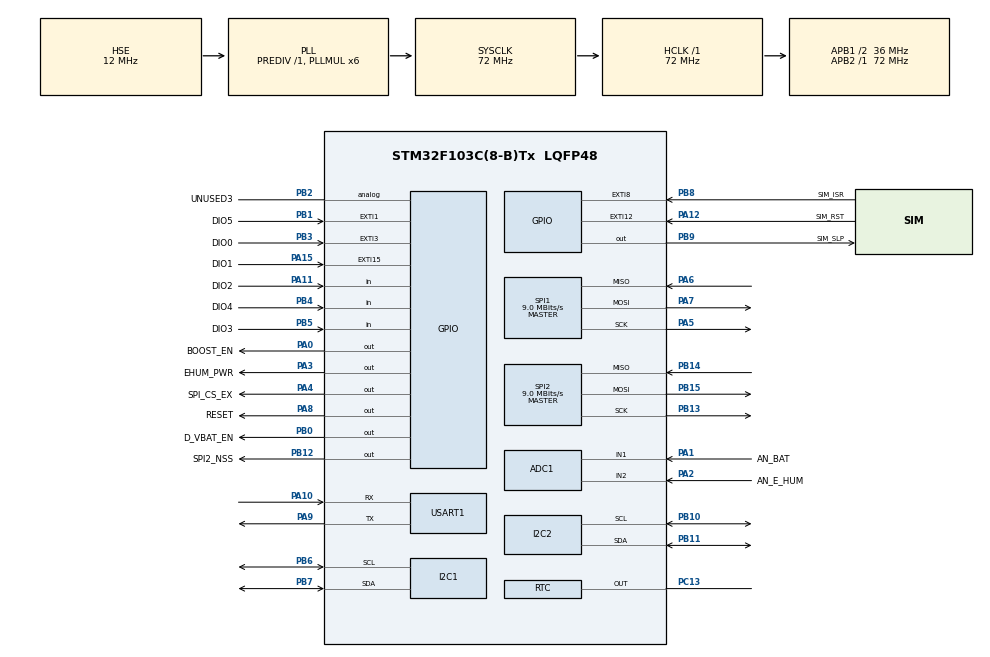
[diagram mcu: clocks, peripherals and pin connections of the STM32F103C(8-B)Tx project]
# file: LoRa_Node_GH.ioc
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ADC1.Channel-0\#ChannelRegularConversion=ADC_CHANNEL_1
ADC1.Channel-1\#ChannelRegularConversion=ADC_CHANNEL_2
ADC1.ContinuousConvMode=ENABLE
ADC1.ExternalTrigConv=ADC_SOFTWARE_START
ADC1.NbrOfConversion=2
ADC1.NbrOfConversionFlag=1
ADC1.Rank-0\#ChannelRegularConversion=1
ADC1.Rank-1\#ChannelRegularConversion=2
ADC1.SamplingTime-0\#ChannelRegularConversion=ADC_SAMPLETIME_1CYCLE_5
ADC1.SamplingTime-1\#ChannelRegularConversion=ADC_SAMPLETIME_1CYCLE_5
ADC1.master=1
Mcu.Family=STM32F1
Mcu.Name=STM32F103C(8-B)Tx
Mcu.Package=LQFP48
NVIC.ADC1_2_IRQn=true\:2\:0\:true\:false\:true\:true\:true\:true
NVIC.EXTI1_IRQn=true\:1\:0\:true\:false\:true\:true\:true\:true
NVIC.EXTI3_IRQn=true\:1\:0\:true\:false\:true\:true\:true\:true
NVIC.I2C1_EV_IRQn=true\:0\:0\:false\:false\:true\:true\:true\:true
NVIC.PriorityGroup=NVIC_PRIORITYGROUP_4
NVIC.RTC_Alarm_IRQn=true\:0\:0\:false\:false\:true\:true\:true\:true
NVIC.TIM2_IRQn=true\:0\:0\:false\:false\:true\:true\:true\:true
NVIC.TIM3_IRQn=true\:0\:0\:false\:false\:true\:true\:true\:true
PA0-WKUP.GPIO_Label=BOOST_EN
PA0-WKUP.Signal=GPIO_Output
PA1.GPIO_Label=AN_BAT
PA1.Signal=ADCx_IN1
PA10.Mode=Asynchronous
PA10.Signal=USART1_RX
PA11.GPIO_Label=DIO2
PA11.Signal=GPIO_Input
PA12.GPIO_Label=SIM_RST
PA12.Signal=GPXTI12
PA13.Mode=Serial_Wire
PA13.Signal=SYS_JTMS-SWDIO
PA14.Mode=Serial_Wire
PA14.Signal=SYS_JTCK-SWCLK
PA15.GPIO_Label=DIO1
PA15.GPIO_PuPd=GPIO_NOPULL
PA15.Signal=GPXTI15
PA2.GPIO_Label=AN_E_HUM
PA2.Signal=ADCx_IN2
PA3.GPIO_Label=EHUM_PWR
PA3.Signal=GPIO_Output
PA4.GPIO_Label=SPI_CS_EX
PA4.PinState=GPIO_PIN_SET
PA4.Signal=GPIO_Output
PA5.Mode=Full_Duplex_Master
PA5.Signal=SPI1_SCK
PA6.Mode=Full_Duplex_Master
PA6.Signal=SPI1_MISO
PA7.Mode=Full_Duplex_Master
PA7.Signal=SPI1_MOSI
PA8.GPIO_Label=RESET
PA8.GPIO_PuPd=GPIO_PULLUP
PA8.GPIO_Speed=GPIO_SPEED_FREQ_LOW
PA8.PinState=GPIO_PIN_SET
PA8.Signal=GPIO_Output
PA9.Mode=Asynchronous
PA9.Signal=USART1_TX
PB0.GPIO_Label=D_VBAT_EN
PB0.Signal=GPIO_Output
PB1.GPIO_Label=DIO5
PB1.GPIO_PuPd=GPIO_NOPULL
PB1.Signal=GPXTI1
PB10.Mode=I2C
PB10.Signal=I2C2_SCL
PB11.Mode=I2C
PB11.Signal=I2C2_SDA
PB12.GPIO_Label=SPI2_NSS
PB12.GPIO_PuPd=GPIO_NOPULL
PB12.PinState=GPIO_PIN_SET
PB12.Signal=GPIO_Output
PB13.Mode=Full_Duplex_Master
PB13.Signal=SPI2_SCK
PB14.Mode=Full_Duplex_Master
PB14.Signal=SPI2_MISO
PB15.Mode=Full_Duplex_Master
PB15.Signal=SPI2_MOSI
PB2.GPIO_Label=UNUSED3
PB2.Signal=GPIO_Analog
PB3.GPIO_Label=DIO0
PB3.GPIO_PuPd=GPIO_NOPULL
PB3.Signal=GPXTI3
PB4.GPIO_Label=DIO4
PB4.Signal=GPIO_Input
PB5.GPIO_Label=DIO3
PB5.Signal=GPIO_Input
PB6.Mode=I2C
PB6.Signal=I2C1_SCL
PB7.Mode=I2C
PB7.Signal=I2C1_SDA
PB8.GPIO_Label=SIM_ISR
PB8.Signal=GPXTI8
PB9.GPIO_Label=SIM_SLP
PB9.Signal=GPIO_Output
PC13-TAMPER-RTC.Mode=RTC OUT
PC13-TAMPER-RTC.Signal=RTC_OUT
PC14-OSC32_IN.Mode=LSE-External-Oscillator
PC14-OSC32_IN.Signal=RCC_OSC32_IN
PC15-OSC32_OUT.Mode=LSE-External-Oscillator
PC15-OSC32_OUT.Signal=RCC_OSC32_OUT
PD0-OSC_IN.Mode=HSE-External-Oscillator
PD0-OSC_IN.Signal=RCC_OSC_IN
PD1-OSC_OUT.Mode=HSE-External-Oscillator
PD1-OSC_OUT.Signal=RCC_OSC_OUT
ProjectManager.HeapSize=0x200
ProjectManager.StackSize=0x400
ProjectManager.TargetToolchain=STM32CubeIDE
RCC.ADCPresc=RCC_ADCPCLK2_DIV6
RCC.AHBFreq_Value=72000000
RCC.APB1CLKDivider=RCC_HCLK_DIV2
RCC.APB1Freq_Value=36000000
RCC.APB1TimFreq_Value=72000000
RCC.APB2Freq_Value=72000000
RCC.APB2TimFreq_Value=72000000
RCC.HCLKFreq_Value=72000000
RCC.HSE_VALUE=12000000
RCC.PLLMUL=RCC_PLL_MUL6
RCC.PLLSourceVirtual=RCC_PLLSOURCE_HSE
RCC.RTCClockSelection=RCC_RTCCLKSOURCE_LSE
RCC.SYSCLKFreq_VALUE=72000000
RCC.SYSCLKSource=RCC_SYSCLKSOURCE_PLLCLK
RCC.USBFreq_Value=72000000
RTC.Hours_A-RTC\ OUT=0
SH.ADCx_IN1.0=ADC1_IN1,IN1
SH.ADCx_IN2.0=ADC1_IN2,IN2
SPI1.BaudRatePrescaler=SPI_BAUDRATEPRESCALER_8
SPI1.CLKPhase=SPI_PHASE_1EDGE
SPI1.CLKPolarity=SPI_POLARITY_LOW
SPI1.CalculateBaudRate=9.0 MBits/s
SPI1.Direction=SPI_DIRECTION_2LINES
SPI1.Mode=SPI_MODE_MASTER
SPI1.VirtualType=VM_MASTER
SPI2.BaudRatePrescaler=SPI_BAUDRATEPRESCALER_4
SPI2.CalculateBaudRate=9.0 MBits/s
SPI2.Direction=SPI_DIRECTION_2LINES
SPI2.Mode=SPI_MODE_MASTER
SPI2.VirtualType=VM_MASTER
TIM2.Period=3599
TIM2.Prescaler=999
TIM3.AutoReloadPreload=TIM_AUTORELOAD_PRELOAD_DISABLE
TIM3.Period=64515
TIM3.Prescaler=2199
USART1.VirtualMode=VM_ASYNC
VP_RTC_VS_RTC_Activate.Mode=RTC_Enabled
VP_RTC_VS_RTC_Calendar.Mode=RTC_Calendar
VP_TIM2_VS_ClockSourceINT.Mode=Internal
VP_TIM3_VS_ClockSourceINT.Mode=Internal
board=custom

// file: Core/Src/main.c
/* USER CODE BEGIN Header */
/**
  ******************************************************************************
  * @file           : main.c
  * @brief          : Main program body
  ******************************************************************************
  * @attention
  *
  * Copyright (c) 2024 STMicroelectronics.
  * All rights reserved.
  *
  * This software is licensed under terms that can be found in the LICENSE file
  * in the root directory of this software component.
  * If no LICENSE file comes with this software, it is provided AS-IS.
  *
  ******************************************************************************
  */
/* USER CODE END Header */
#include "main.h"

/* USER CODE BEGIN PD */

BME280 				bme280;
MEASUREMENTS 		measurements;
LORA_Data 			lora_data;
rfm95_handle_t 		rfm95_handle;

RTC_TimeTypeDef 	time;
RTC_DateTypeDef 	date;
RTC_AlarmTypeDef 	sAlarm;

/* USER CODE END PD */

ADC_HandleTypeDef hadc1;

I2C_HandleTypeDef hi2c1;
I2C_HandleTypeDef hi2c2;

RTC_HandleTypeDef hrtc;

SPI_HandleTypeDef hspi1;
SPI_HandleTypeDef hspi2;

TIM_HandleTypeDef htim2;
TIM_HandleTypeDef htim3;

UART_HandleTypeDef huart1;

void SystemClock_Config(void);
static void MX_GPIO_Init(void);
static void MX_I2C1_Init(void);
static void MX_I2C2_Init(void);
static void MX_SPI1_Init(void);
static void MX_SPI2_Init(void);
static void MX_ADC1_Init(void);
static void MX_RTC_Init(void);
static void MX_TIM2_Init(void);
static void MX_TIM3_Init(void);
static void MX_USART1_UART_Init(void);

/* USER CODE BEGIN 0 */

/* VARIABLES */
uint8_t awake = 1;				// Detect wake up event
uint8_t state = STATE_INIT;		// state value for state machine
volatile uint32_t tim3_tick_msb = 0;

/* MY FUNCTIONS */
void RFM95W_Struct_Init(rfm95_handle_t* rfm95_handle);
static uint8_t random_int(uint8_t max);
static uint32_t get_precision_tick();
void wake_up_from_standby_handler(void);

/* USER CODE END 0 */

int main(void)
{

  /* MCU Configuration--------------------------------------------------------*/

  /* Reset of all peripherals, Initializes the Flash interface and the Systick. */
  HAL_Init();

  /* USER CODE BEGIN Init */

  // Check if the MCU woke up from Standby mode //
	#ifndef SLEEP_MODE_STOP
	  if (__HAL_PWR_GET_FLAG(PWR_FLAG_SB)) // Standby flag is set
		  {
			  // Clear the Standby flag
			  __HAL_PWR_CLEAR_FLAG(PWR_FLAG_SB);

			  // Check if RTC Alarm A triggered the wake-up
			  if (__HAL_RTC_ALARM_GET_FLAG(&hrtc, RTC_FLAG_ALRAF) != RESET)
			  {
				  // Clear the RTC Alarm A flag
				  __HAL_RTC_ALARM_CLEAR_FLAG(&hrtc, RTC_FLAG_ALRAF);

				  // Perform wake-up logic
				  wake_up_from_standby_handler();
			  }
		  }
	#endif

  /* USER CODE END Init */

  /* Configure the system clock */
  SystemClock_Config();

  /* Initialize all configured peripherals */
  MX_GPIO_Init();
  MX_I2C1_Init();
  MX_I2C2_Init();
  MX_SPI1_Init();
  MX_SPI2_Init();
  MX_ADC1_Init();
  MX_RTC_Init();
  MX_TIM2_Init();
  MX_TIM3_Init();
  MX_USART1_UART_Init();
  /* USER CODE BEGIN 2 */

  float delta = 100 / (EARTH_HUM_DRY_VAL -  EARTH_HUM_WET_VAL); // Precalculated value to decrease power consumption
  uint8_t status = 0;											// error counter

  /* USER CODE END 2 */

  /* Infinite loop */
  /* USER CODE BEGIN WHILE */
  while (1)
  {
	  switch(state)
	  {

	  case STATE_INIT:

		  ////////* DEVICE BOOT *////////

		  if (measurements.ADC_read_cnt == 0)
		  {
			  /* BME280 */
			  status += BME280_Reset(&bme280, &hi2c2);
			  HAL_Delay(200);
			  status += BME280_ReadDeviceID(&bme280, &hi2c2);
			  status += BME280_ReadCalibData(&bme280, &hi2c2);
			  status += BME280_Init(&bme280, &hi2c2);

			  // Enable power to humidity probe and to voltage divider for battery measurement
			  HAL_GPIO_WritePin(EHUM_PWR_GPIO_Port, EHUM_PWR_Pin, GPIO_PIN_SET);
			  HAL_GPIO_WritePin(D_VBAT_EN_GPIO_Port, D_VBAT_EN_Pin, GPIO_PIN_SET);

			  // Disable RTC alarm for init routine
			  __HAL_RTC_ALARM_CLEAR_FLAG(&hrtc, RTC_FLAG_ALRAF);
			  HAL_RTC_DeactivateAlarm(&hrtc, RTC_ALARM_A);

			  HAL_TIM_Base_Start_IT(&htim2);
			  HAL_TIM_Base_Start_IT(&htim3);
		  }

		  if (measurements.ADC_read_end == 1 && measurements.ADC_read == 1)
		  {
			  // Read analog values
			  measurements.bat_voltage[measurements.ADC_read_cnt] = ADC_Read_Battery(&measurements.ADC_values[0]);
			  measurements.earth_hum[measurements.ADC_read_cnt] = ADC_Read_EHum(&measurements.ADC_values[1], &delta);
			  measurements.ADC_read_cnt ++;

			  measurements.ADC_read_end = 0; 	// reset ADC read flag
			  measurements.ADC_read = 0; 		// reset timer read flag
			  HAL_TIM_Base_Start_IT(&htim2);

			  // Calculate average values
			  if (measurements.ADC_read_cnt == 5)
			  {
				  measurements.ADC_read_cnt = 0;
				  HAL_TIM_Base_Stop_IT(&htim2);

				  // Disable power to humidity probe and to voltage divider for battery measurement
				  HAL_GPIO_WritePin(EHUM_PWR_GPIO_Port, EHUM_PWR_Pin, GPIO_PIN_RESET);
				  HAL_GPIO_WritePin(D_VBAT_EN_GPIO_Port, D_VBAT_EN_Pin, GPIO_PIN_RESET);

				  // Calculate average battery voltage
				  measurements.battery_voltage = 0;
				  measurements.earth_humidity = 0;

				  for (int i = 0; i < 5; i++)
				  {
					  measurements.battery_voltage += measurements.bat_voltage[i];
					  measurements.earth_humidity += measurements.earth_hum[i];
				  }

				  measurements.battery_voltage /= 5;
				  measurements.earth_humidity /= 5;

				  // Read all data from BME280 sensor
				  BME280_GoToFromSleep(&bme280, &hi2c2, 1); // wake-up
				  BME280_ReadAllData(&bme280, &hi2c2);
				  BME280_GoToFromSleep(&bme280, &hi2c2, 0); // sleep

				  // LoRa module
				  RFM95W_Struct_Init(&rfm95_handle);

				  // Initialise RFM95 module.
				  if (!rfm95_init(&rfm95_handle)) status++;

				  // All that flags must be cleard to get stable boot
				  NVIC_ClearPendingIRQ(EXTI1_IRQn); // Clear EXTI1 NVIC pending flag
				  NVIC_ClearPendingIRQ(EXTI3_IRQn); // Clear EXTI3 NVIC pending
				  NVIC_ClearPendingIRQ(EXTI15_10_IRQn); // Clear EXTI15_10 NVIC pending flag
				  HAL_NVIC_EnableIRQ(EXTI3_IRQn);
				  HAL_NVIC_EnableIRQ(EXTI1_IRQn);
				  //HAL_NVIC_EnableIRQ(EXTI15_10_IRQn); // Bricks the program, inturrupt is not needed -> only for RX

				  // Check if everthing is OK (voltage and sensors)
				  if (measurements.battery_voltage < 2.8f) status++; //Vbat NEEDS TO BE SET

				  lora_data.errSendCnt += status;

				  if (status == 0)
				  {
					  //state = STATE_FIRST_CONN;
					  state = STATE_SEND;
					  status = 0;
					  lora_data.errSendCnt = 0;
				  }
				  else
				  {
					  //state = STATE_ERROR;
					  state = STATE_GO_SLEEP;
				  }
			  }
		  }

		  break;

	  case STATE_FIRST_CONN:

		  ////////* FIRST LoRa/SIM CONNECTION TEST *////////

		  // Create data packet that will be send - dummy
		  uint8_t test_data_packet[] = {0x01, 0x02, 0x03, 0x04};

		  // Read number of TX packets from flash
		  uint32_t tx_count = 0;
		  Flash_Read_Data(FLASH_START_ADDR, &tx_count, 1); // 1 = one word
		  rfm95_handle.config.tx_frame_count = tx_count;

		  if (!rfm95_send_receive_cycle(&rfm95_handle, test_data_packet, sizeof(test_data_packet)))
		  {
			  // Put device in error state
			  state = STATE_ERROR;
		  }
		  else
		  {
			  // Write number of TX packets to flash
			  uint32_t temp_data = (uint32_t)rfm95_handle.config.tx_frame_count;
			  Flash_Write_Data(FLASH_START_ADDR, &temp_data, 1); // 1 = one word

			  // Put device in sleep
			  state = STATE_GO_SLEEP;

			  // Send data packet
			  //state = STATE_SEND;
		  }

		  break;

	  case STATE_RUN:

		  ////////* DEVICE WAKEUP ROUTINE *////////

		  // Start all clocks
		  if (awake == 1)
		  {
			  awake = 0;
			  SystemClock_Config();
			  HAL_ResumeTick();

			  // Reset wake up flag
			  __HAL_RTC_ALARM_CLEAR_FLAG(&hrtc, RTC_FLAG_ALRAF);
			  HAL_RTC_DeactivateAlarm(&hrtc, RTC_ALARM_A);

			  HAL_TIM_Base_Init(&htim2);
			  HAL_TIM_Base_Init(&htim3);
			  HAL_NVIC_EnableIRQ(TIM2_IRQn); // Disable Timer 2 interrupt
			  HAL_NVIC_EnableIRQ(TIM3_IRQn); // Disable Timer 3 interrupt

			  // Enable power to humidity probe and to voltage divider for battery measurement
			  HAL_GPIO_WritePin(EHUM_PWR_GPIO_Port, EHUM_PWR_Pin, GPIO_PIN_SET);
			  HAL_GPIO_WritePin(D_VBAT_EN_GPIO_Port, D_VBAT_EN_Pin, GPIO_PIN_SET);

			  HAL_ADC_Init(&hadc1);
			  HAL_ADC_Start(&hadc1);
//			  __HAL_RCC_ADC1_CLK_ENABLE();   // Enable ADC1 clock
			  HAL_I2C_Init(&hi2c1);
//			  __HAL_RCC_I2C1_CLK_ENABLE();   // Enable I2C1 clock
			  HAL_I2C_Init(&hi2c2);
//			  __HAL_RCC_I2C2_CLK_ENABLE();   // Enable I2C2 clock
			  HAL_SPI_Init(&hspi1);
//			  __HAL_RCC_SPI1_CLK_ENABLE();   // Enable SPI1 clock
			  HAL_SPI_Init(&hspi2);
//			  __HAL_RCC_SPI2_CLK_ENABLE();   // Enable SPI1 clock
			  HAL_UART_Init(&huart1);
//			  __HAL_RCC_USART1_CLK_ENABLE(); // Enable USART1 clock

//			  __HAL_RCC_GPIOA_CLK_ENABLE();
//			  __HAL_RCC_GPIOB_CLK_ENABLE();
//			  __HAL_RCC_GPIOC_CLK_ENABLE();
//			  __HAL_RCC_GPIOD_CLK_ENABLE();

		  }

		  if (measurements.ADC_read_cnt == 0)
		  {
			  /* BME280 */
			#ifndef SLEEP_MODE_STOP
			  status += BME280_Reset(&bme280, &hi2c2);
			  HAL_Delay(200);
			  status += BME280_ReadDeviceID(&bme280, &hi2c2);
			  status += BME280_ReadCalibData(&bme280, &hi2c2);
			  status += BME280_Init(&bme280, &hi2c2);
			#endif

			  HAL_TIM_Base_Start_IT(&htim2);
			  HAL_TIM_Base_Start_IT(&htim3);
		  }

		  if (measurements.ADC_read_end == 1 && measurements.ADC_read == 1)
		  {
			  // Read analog values
			  measurements.bat_voltage[measurements.ADC_read_cnt] = ADC_Read_Battery(&measurements.ADC_values[0]);
			  measurements.earth_hum[measurements.ADC_read_cnt] = ADC_Read_EHum(&measurements.ADC_values[1], &delta);
			  measurements.ADC_read_cnt ++;

			  measurements.ADC_read_end = 0; 		// reset ADC read flag
			  measurements.ADC_read = 0; 			// reset timer read flag
			  HAL_TIM_Base_Start_IT(&htim2);

			  // Calculate average values
			  if (measurements.ADC_read_cnt == 5)
			  {
				  measurements.ADC_read_cnt = 0;
				  HAL_TIM_Base_Stop_IT(&htim2);

				  // Disable power to humidity probe and to voltage divider for battery measurement
				  HAL_GPIO_WritePin(EHUM_PWR_GPIO_Port, EHUM_PWR_Pin, GPIO_PIN_RESET);
				  HAL_GPIO_WritePin(D_VBAT_EN_GPIO_Port, D_VBAT_EN_Pin, GPIO_PIN_RESET);

				  // Calculate average battery voltage
				  measurements.battery_voltage = 0;
				  measurements.earth_humidity = 0;

				  for (int i = 0; i < 5; i++)
				  {
					  measurements.battery_voltage += measurements.bat_voltage[i];
					  measurements.earth_humidity += measurements.earth_hum[i];
				  }

				  measurements.battery_voltage /= 5;
				  measurements.earth_humidity /= 5;

				  // Read all data from BME280 sensor
				  BME280_GoToFromSleep(&bme280, &hi2c2, 1); // wake-up
				  BME280_ReadAllData(&bme280, &hi2c2);
				  BME280_GoToFromSleep(&bme280, &hi2c2, 0); // sleep

				  // LoRa module
				#ifndef SLEEP_MODE_STOP
				  RFM95W_Struct_Init(&rfm95_handle);

				  // Initialise RFM95 module.
				  if (!rfm95_init(&rfm95_handle)) status += 10; // Increase error counter for 10 to detect LoRa error (data can't be send)

				  // All that flags must be cleard to get stable boot
				  NVIC_ClearPendingIRQ(EXTI1_IRQn); // Clear EXTI1 NVIC pending flag
				  NVIC_ClearPendingIRQ(EXTI3_IRQn); // Clear EXTI3 NVIC pending
				  NVIC_ClearPendingIRQ(EXTI15_10_IRQn); // Clear EXTI15_10 NVIC pending flag
				  HAL_NVIC_EnableIRQ(EXTI3_IRQn);
				  HAL_NVIC_EnableIRQ(EXTI1_IRQn);
				  //HAL_NVIC_EnableIRQ(EXTI15_10_IRQn); // Bricks the program, inturrupt is not needed -> only for RX
				#endif

				  // Check if everthing is OK (voltage and sensors)
				  if (measurements.battery_voltage < 2.8f) status++; //Vbat NEED TO BE SET

				  lora_data.errSendCnt += status;

				  if (status < 10)
				  {
					  state = STATE_SEND;
				  }
				  else
				  {
					  state = STATE_ERROR;
				  }
			  }
		  }

		  break;

	  case STATE_SEND:

	  	  ////////* SEND DATA *////////

		  // Collect and change data for sending
		  if (lora_data.errSendCnt > 0) lora_data.error = 1;					// Flag if device is in error
		  lora_data.battery = (uint8_t)(measurements.battery_voltage * 10);		// Battery voltage [3.5V -> 35V, no float]
		  lora_data.air_temperature = (int32_t)(bme280.Temp_C);					// Air temperature [test for negative value]
		  lora_data.air_humidity = (uint8_t)(bme280.Hum_Perc);					// Air humidity in perscents [0-100%]
		  lora_data.air_pressure = (uint32_t)(bme280.Press_Pa);					// Air pressure [saved in two uint8_ts]
		  lora_data.earth_humudity = (uint8_t)(measurements.earth_humidity);	// Humidity value of earth in percents [0-100%]

		  // Data packet that will be send (modify if needed)
		  uint8_t data_packet[14];

		  data_packet[0] = DEVICE_ID;                              // Device ID number
		  data_packet[1] = lora_data.error;                        // Error flag
		  data_packet[2] = lora_data.errSendCnt;                   // No. of errors
		  data_packet[3] = lora_data.battery;                      // battery voltage

		  // Encode air_temperature (int32_t -> 4 bytes)
		  data_packet[4] = (uint8_t)(lora_data.air_temperature & 0xFF);
		  data_packet[5] = (uint8_t)((lora_data.air_temperature >> 8) & 0xFF);
		  data_packet[6] = (uint8_t)((lora_data.air_temperature >> 16) & 0xFF);
		  data_packet[7] = (uint8_t)((lora_data.air_temperature >> 24) & 0xFF);

		  // Encode air_humidity
		  data_packet[8] = lora_data.air_humidity;

		  // Encode air_pressure (uint32_t -> 4 bytes)
		  data_packet[9] = (uint8_t)(lora_data.air_pressure & 0xFF);
		  data_packet[10] = (uint8_t)((lora_data.air_pressure >> 8) & 0xFF);
		  data_packet[11] = (uint8_t)((lora_data.air_pressure >> 16) & 0xFF);
		  data_packet[12] = (uint8_t)((lora_data.air_pressure >> 24) & 0xFF);

		  // Encode earth_humidity
		  data_packet[13] = lora_data.earth_humudity;

		  // Read number of TX packets from flash
		  Flash_Read_Data(FLASH_START_ADDR, &tx_count, 1); // 1 = one word
		  rfm95_handle.config.tx_frame_count = tx_count;

		  if (!rfm95_send_receive_cycle(&rfm95_handle, data_packet, sizeof(data_packet))) // test_data_packet
		  {
			  lora_data.errSendCnt++; // Not used
		  }
		  else
		  {
			  // Write number of TX packets to flash
			  uint32_t temp_data = (uint32_t)rfm95_handle.config.tx_frame_count;
			  Flash_Write_Data(FLASH_START_ADDR, &temp_data, 1); // 1 = one word
		  }

		  state = STATE_GO_SLEEP;

		  // Reset error counter
		  status = 0;
		  lora_data.errSendCnt = 0;

		  break;

	  case STATE_GO_SLEEP:

		  ////////* PUT DEVICE TO SLEEP *////////

		  HAL_RTC_GetTime(&hrtc, &time, RTC_FORMAT_BIN);
		  HAL_RTC_GetDate(&hrtc, &date, RTC_FORMAT_BIN);

		  //time.Hours += 1; // Next wake up after one hours
		  time.Minutes += 30; // Next wake up after 30 minuts
		  //time.Minutes += 1; //test

		  if(time.Seconds>=60)
		  {
			  time.Minutes ++;
			  time.Seconds = time.Seconds - 60;
		  }

		  if(time.Minutes >= 60)
		  {
			  time.Hours++;
			  time.Minutes = time.Minutes - 60;
		  }

		  if(time.Hours > 23)
		  {
			  time.Hours = 0;
		  }

		  sAlarm.Alarm = RTC_ALARM_A;
		  sAlarm.AlarmTime.Hours = time.Hours;
		  sAlarm.AlarmTime.Minutes = time.Minutes;
		  sAlarm.AlarmTime.Seconds = time.Seconds;
		  HAL_RTC_SetAlarm_IT(&hrtc, &sAlarm, RTC_FORMAT_BIN);

		  // Stop Timers if they running and disable their interrupts
		  HAL_TIM_Base_Stop_IT(&htim2); // Stop Timer 2
		  HAL_TIM_Base_Stop_IT(&htim3); // Stop Timer 3
		  HAL_NVIC_DisableIRQ(TIM2_IRQn); // Disable Timer 2 interrupt
		  HAL_NVIC_DisableIRQ(TIM3_IRQn); // Disable Timer 3 interrupt

		  HAL_ADC_Stop(&hadc1);
		  HAL_ADC_DeInit(&hadc1);
////		  __HAL_RCC_ADC1_CLK_DISABLE();   // Disable ADC1 clock
//		  HAL_I2C_DeInit(&hi2c1);
////		  __HAL_RCC_I2C1_CLK_DISABLE();   // Disable I2C1 clock
//		  HAL_I2C_DeInit(&hi2c2);
////		  __HAL_RCC_I2C2_CLK_DISABLE();   // Disable I2C2 clock
//		  HAL_SPI_DeInit(&hspi1);
////		  __HAL_RCC_SPI1_CLK_DISABLE();   // Disable SPI1 clock
//		  HAL_SPI_DeInit(&hspi2);
////		  __HAL_RCC_SPI2_CLK_DISABLE();   // Disable SPI2 clock
//		  HAL_UART_DeInit(&huart1);
//		  __HAL_RCC_USART1_CLK_DISABLE(); 	  // Disable USART1 clock
//
//		  __HAL_RCC_GPIOA_CLK_DISABLE();
//		  __HAL_RCC_GPIOB_CLK_DISABLE();
//		  __HAL_RCC_GPIOC_CLK_DISABLE();
//		  __HAL_RCC_GPIOD_CLK_DISABLE();

//		  RCC_OscInitTypeDef RCC_OscInitStruct = {0};
//		  RCC_OscInitStruct.OscillatorType = RCC_OSCILLATORTYPE_LSI;
//		  RCC_OscInitStruct.LSIState = RCC_LSI_OFF; // Disable LSI
//		  HAL_RCC_OscConfig(&RCC_OscInitStruct);
//
//		  RCC_OscInitStruct.OscillatorType = RCC_OSCILLATORTYPE_HSI;
//		  RCC_OscInitStruct.HSIState = RCC_HSI_OFF; // Disable HSI
//		  HAL_RCC_OscConfig(&RCC_OscInitStruct);

		  rfm95_goto_sleep(&rfm95_handle); // If the module is not in sleep mode (it should be)

		  HAL_SuspendTick();

		  // Set sleep mode
		#ifdef SLEEP_MODE_STOP
		  HAL_DBGMCU_DisableDBGStopMode();
		  HAL_PWR_EnterSTOPMode(PWR_LOWPOWERREGULATOR_ON, PWR_STOPENTRY_WFI); // PWR_MAINREGULATOR_ON
		#endif

		#ifndef SLEEP_MODE_STOP
		  HAL_DBGMCU_DisableDBGStandbyMode();
		  HAL_PWR_EnterSTANDBYMode();
		#endif

		  // Resume clock and ticks
		  SystemClock_Config();
		  HAL_ResumeTick();

		  break;

	  case STATE_ERROR:

		  ////////* INIT ROUTINE FAILED *////////

		  break;

	  default:

		  ////////* UNDEFINED STATE *////////

		  break;

	  }

    /* USER CODE END WHILE */

  }
}

void SystemClock_Config(void)
{
  RCC_OscInitTypeDef RCC_OscInitStruct = {0};
  RCC_ClkInitTypeDef RCC_ClkInitStruct = {0};
  RCC_PeriphCLKInitTypeDef PeriphClkInit = {0};

  /** Initializes the RCC Oscillators according to the specified parameters
  * in the RCC_OscInitTypeDef structure.
  */
  RCC_OscInitStruct.OscillatorType = RCC_OSCILLATORTYPE_HSE|RCC_OSCILLATORTYPE_LSE;
  RCC_OscInitStruct.HSEState = RCC_HSE_ON;
  RCC_OscInitStruct.HSEPredivValue = RCC_HSE_PREDIV_DIV1;
  RCC_OscInitStruct.LSEState = RCC_LSE_ON;
  RCC_OscInitStruct.HSIState = RCC_HSI_ON;
  RCC_OscInitStruct.PLL.PLLState = RCC_PLL_ON;
  RCC_OscInitStruct.PLL.PLLSource = RCC_PLLSOURCE_HSE;
  RCC_OscInitStruct.PLL.PLLMUL = RCC_PLL_MUL6;
  if (HAL_RCC_OscConfig(&RCC_OscInitStruct) != HAL_OK)
  {
    Error_Handler();
  }

  /** Initializes the CPU, AHB and APB buses clocks
  */
  RCC_ClkInitStruct.ClockType = RCC_CLOCKTYPE_HCLK|RCC_CLOCKTYPE_SYSCLK
                              |RCC_CLOCKTYPE_PCLK1|RCC_CLOCKTYPE_PCLK2;
  RCC_ClkInitStruct.SYSCLKSource = RCC_SYSCLKSOURCE_PLLCLK;
  RCC_ClkInitStruct.AHBCLKDivider = RCC_SYSCLK_DIV1;
  RCC_ClkInitStruct.APB1CLKDivider = RCC_HCLK_DIV2;
  RCC_ClkInitStruct.APB2CLKDivider = RCC_HCLK_DIV1;

  if (HAL_RCC_ClockConfig(&RCC_ClkInitStruct, FLASH_LATENCY_2) != HAL_OK)
  {
    Error_Handler();
  }
  PeriphClkInit.PeriphClockSelection = RCC_PERIPHCLK_RTC|RCC_PERIPHCLK_ADC;
  PeriphClkInit.RTCClockSelection = RCC_RTCCLKSOURCE_LSE;
  PeriphClkInit.AdcClockSelection = RCC_ADCPCLK2_DIV6;
  if (HAL_RCCEx_PeriphCLKConfig(&PeriphClkInit) != HAL_OK)
  {
    Error_Handler();
  }
}

static void MX_ADC1_Init(void)
{

  ADC_ChannelConfTypeDef sConfig = {0};

  /** Common config
  */
  hadc1.Instance = ADC1;
  hadc1.Init.ScanConvMode = ADC_SCAN_ENABLE;
  hadc1.Init.ContinuousConvMode = ENABLE;
  hadc1.Init.DiscontinuousConvMode = DISABLE;
  hadc1.Init.ExternalTrigConv = ADC_SOFTWARE_START;
  hadc1.Init.DataAlign = ADC_DATAALIGN_RIGHT;
  hadc1.Init.NbrOfConversion = 2;
  if (HAL_ADC_Init(&hadc1) != HAL_OK)
  {
    Error_Handler();
  }

  /** Configure Regular Channel
  */
  sConfig.Channel = ADC_CHANNEL_1;
  sConfig.Rank = ADC_REGULAR_RANK_1;
  sConfig.SamplingTime = ADC_SAMPLETIME_1CYCLE_5;
  if (HAL_ADC_ConfigChannel(&hadc1, &sConfig) != HAL_OK)
  {
    Error_Handler();
  }

  /** Configure Regular Channel
  */
  sConfig.Channel = ADC_CHANNEL_2;
  sConfig.Rank = ADC_REGULAR_RANK_2;
  if (HAL_ADC_ConfigChannel(&hadc1, &sConfig) != HAL_OK)
  {
    Error_Handler();
  }

}

static void MX_I2C1_Init(void)
{

  hi2c1.Instance = I2C1;
  hi2c1.Init.ClockSpeed = 100000;
  hi2c1.Init.DutyCycle = I2C_DUTYCYCLE_2;
  hi2c1.Init.OwnAddress1 = 0;
  hi2c1.Init.AddressingMode = I2C_ADDRESSINGMODE_7BIT;
  hi2c1.Init.DualAddressMode = I2C_DUALADDRESS_DISABLE;
  hi2c1.Init.OwnAddress2 = 0;
  hi2c1.Init.GeneralCallMode = I2C_GENERALCALL_DISABLE;
  hi2c1.Init.NoStretchMode = I2C_NOSTRETCH_DISABLE;
  if (HAL_I2C_Init(&hi2c1) != HAL_OK)
  {
    Error_Handler();
  }

}

static void MX_I2C2_Init(void)
{

  hi2c2.Instance = I2C2;
  hi2c2.Init.ClockSpeed = 100000;
  hi2c2.Init.DutyCycle = I2C_DUTYCYCLE_2;
  hi2c2.Init.OwnAddress1 = 0;
  hi2c2.Init.AddressingMode = I2C_ADDRESSINGMODE_7BIT;
  hi2c2.Init.DualAddressMode = I2C_DUALADDRESS_DISABLE;
  hi2c2.Init.OwnAddress2 = 0;
  hi2c2.Init.GeneralCallMode = I2C_GENERALCALL_DISABLE;
  hi2c2.Init.NoStretchMode = I2C_NOSTRETCH_DISABLE;
  if (HAL_I2C_Init(&hi2c2) != HAL_OK)
  {
    Error_Handler();
  }

}

static void MX_RTC_Init(void)
{

  RTC_TimeTypeDef sTime = {0};
  RTC_DateTypeDef DateToUpdate = {0};
  RTC_AlarmTypeDef sAlarm = {0};

  /** Initialize RTC Only
  */
  hrtc.Instance = RTC;
  hrtc.Init.AsynchPrediv = RTC_AUTO_1_SECOND;
  hrtc.Init.OutPut = RTC_OUTPUTSOURCE_ALARM;
  if (HAL_RTC_Init(&hrtc) != HAL_OK)
  {
    Error_Handler();
  }

  /** Initialize RTC and set the Time and Date
  */
  sTime.Hours = 0x0;
  sTime.Minutes = 0x0;
  sTime.Seconds = 0x0;

  if (HAL_RTC_SetTime(&hrtc, &sTime, RTC_FORMAT_BCD) != HAL_OK)
  {
    Error_Handler();
  }
  DateToUpdate.WeekDay = RTC_WEEKDAY_MONDAY;
  DateToUpdate.Month = RTC_MONTH_JANUARY;
  DateToUpdate.Date = 0x1;
  DateToUpdate.Year = 0x0;

  if (HAL_RTC_SetDate(&hrtc, &DateToUpdate, RTC_FORMAT_BCD) != HAL_OK)
  {
    Error_Handler();
  }

  /** Enable the Alarm A
  */
  sAlarm.AlarmTime.Hours = 0x0;
  sAlarm.AlarmTime.Minutes = 0x0;
  sAlarm.AlarmTime.Seconds = 0x0;
  sAlarm.Alarm = RTC_ALARM_A;
  if (HAL_RTC_SetAlarm_IT(&hrtc, &sAlarm, RTC_FORMAT_BCD) != HAL_OK)
  {
    Error_Handler();
  }

}

static void MX_SPI1_Init(void)
{

  /* SPI1 parameter configuration*/
  hspi1.Instance = SPI1;
  hspi1.Init.Mode = SPI_MODE_MASTER;
  hspi1.Init.Direction = SPI_DIRECTION_2LINES;
  hspi1.Init.DataSize = SPI_DATASIZE_8BIT;
  hspi1.Init.CLKPolarity = SPI_POLARITY_LOW;
  hspi1.Init.CLKPhase = SPI_PHASE_1EDGE;
  hspi1.Init.NSS = SPI_NSS_SOFT;
  hspi1.Init.BaudRatePrescaler = SPI_BAUDRATEPRESCALER_8;
  hspi1.Init.FirstBit = SPI_FIRSTBIT_MSB;
  hspi1.Init.TIMode = SPI_TIMODE_DISABLE;
  hspi1.Init.CRCCalculation = SPI_CRCCALCULATION_DISABLE;
  hspi1.Init.CRCPolynomial = 10;
  if (HAL_SPI_Init(&hspi1) != HAL_OK)
  {
    Error_Handler();
  }

}

static void MX_SPI2_Init(void)
{

  /* SPI2 parameter configuration*/
  hspi2.Instance = SPI2;
  hspi2.Init.Mode = SPI_MODE_MASTER;
  hspi2.Init.Direction = SPI_DIRECTION_2LINES;
  hspi2.Init.DataSize = SPI_DATASIZE_8BIT;
  hspi2.Init.CLKPolarity = SPI_POLARITY_LOW;
  hspi2.Init.CLKPhase = SPI_PHASE_1EDGE;
  hspi2.Init.NSS = SPI_NSS_SOFT;
  hspi2.Init.BaudRatePrescaler = SPI_BAUDRATEPRESCALER_4;
  hspi2.Init.FirstBit = SPI_FIRSTBIT_MSB;
  hspi2.Init.TIMode = SPI_TIMODE_DISABLE;
  hspi2.Init.CRCCalculation = SPI_CRCCALCULATION_DISABLE;
  hspi2.Init.CRCPolynomial = 10;
  if (HAL_SPI_Init(&hspi2) != HAL_OK)
  {
    Error_Handler();
  }

}

static void MX_TIM2_Init(void)
{

  TIM_ClockConfigTypeDef sClockSourceConfig = {0};
  TIM_MasterConfigTypeDef sMasterConfig = {0};

  htim2.Instance = TIM2;
  htim2.Init.Prescaler = 999;
  htim2.Init.CounterMode = TIM_COUNTERMODE_UP;
  htim2.Init.Period = 3599;
  htim2.Init.ClockDivision = TIM_CLOCKDIVISION_DIV1;
  htim2.Init.AutoReloadPreload = TIM_AUTORELOAD_PRELOAD_DISABLE;
  if (HAL_TIM_Base_Init(&htim2) != HAL_OK)
  {
    Error_Handler();
  }
  sClockSourceConfig.ClockSource = TIM_CLOCKSOURCE_INTERNAL;
  if (HAL_TIM_ConfigClockSource(&htim2, &sClockSourceConfig) != HAL_OK)
  {
    Error_Handler();
  }
  sMasterConfig.MasterOutputTrigger = TIM_TRGO_RESET;
  sMasterConfig.MasterSlaveMode = TIM_MASTERSLAVEMODE_DISABLE;
  if (HAL_TIMEx_MasterConfigSynchronization(&htim2, &sMasterConfig) != HAL_OK)
  {
    Error_Handler();
  }

}

static void MX_TIM3_Init(void)
{

  TIM_ClockConfigTypeDef sClockSourceConfig = {0};
  TIM_MasterConfigTypeDef sMasterConfig = {0};

  htim3.Instance = TIM3;
  htim3.Init.Prescaler = 2199;
  htim3.Init.CounterMode = TIM_COUNTERMODE_UP;
  htim3.Init.Period = 64515;
  htim3.Init.ClockDivision = TIM_CLOCKDIVISION_DIV1;
  htim3.Init.AutoReloadPreload = TIM_AUTORELOAD_PRELOAD_DISABLE;
  if (HAL_TIM_Base_Init(&htim3) != HAL_OK)
  {
    Error_Handler();
  }
  sClockSourceConfig.ClockSource = TIM_CLOCKSOURCE_INTERNAL;
  if (HAL_TIM_ConfigClockSource(&htim3, &sClockSourceConfig) != HAL_OK)
  {
    Error_Handler();
  }
  sMasterConfig.MasterOutputTrigger = TIM_TRGO_RESET;
  sMasterConfig.MasterSlaveMode = TIM_MASTERSLAVEMODE_DISABLE;
  if (HAL_TIMEx_MasterConfigSynchronization(&htim3, &sMasterConfig) != HAL_OK)
  {
    Error_Handler();
  }

}

static void MX_USART1_UART_Init(void)
{

  huart1.Instance = USART1;
  huart1.Init.BaudRate = 115200;
  huart1.Init.WordLength = UART_WORDLENGTH_8B;
  huart1.Init.StopBits = UART_STOPBITS_1;
  huart1.Init.Parity = UART_PARITY_NONE;
  huart1.Init.Mode = UART_MODE_TX_RX;
  huart1.Init.HwFlowCtl = UART_HWCONTROL_NONE;
  huart1.Init.OverSampling = UART_OVERSAMPLING_16;
  if (HAL_UART_Init(&huart1) != HAL_OK)
  {
    Error_Handler();
  }

}

static void MX_GPIO_Init(void)
{
  GPIO_InitTypeDef GPIO_InitStruct = {0};

  /* GPIO Ports Clock Enable */
  __HAL_RCC_GPIOC_CLK_ENABLE();
  __HAL_RCC_GPIOD_CLK_ENABLE();
  __HAL_RCC_GPIOA_CLK_ENABLE();
  __HAL_RCC_GPIOB_CLK_ENABLE();

  /*Configure GPIO pin Output Level */
  HAL_GPIO_WritePin(GPIOA, BOOST_EN_Pin|EHUM_PWR_Pin, GPIO_PIN_RESET);

  /*Configure GPIO pin Output Level */
  HAL_GPIO_WritePin(GPIOA, SPI_CS_EX_Pin|RESET_Pin, GPIO_PIN_SET);

  /*Configure GPIO pin Output Level */
  HAL_GPIO_WritePin(GPIOB, D_VBAT_EN_Pin|SIM_SLP_Pin, GPIO_PIN_RESET);

  /*Configure GPIO pin Output Level */
  HAL_GPIO_WritePin(SPI2_NSS_GPIO_Port, SPI2_NSS_Pin, GPIO_PIN_SET);

  /*Configure GPIO pins : BOOST_EN_Pin EHUM_PWR_Pin SPI_CS_EX_Pin */
  GPIO_InitStruct.Pin = BOOST_EN_Pin|EHUM_PWR_Pin|SPI_CS_EX_Pin;
  GPIO_InitStruct.Mode = GPIO_MODE_OUTPUT_PP;
  GPIO_InitStruct.Pull = GPIO_NOPULL;
  GPIO_InitStruct.Speed = GPIO_SPEED_FREQ_LOW;
  HAL_GPIO_Init(GPIOA, &GPIO_InitStruct);

  /*Configure GPIO pins : D_VBAT_EN_Pin SPI2_NSS_Pin SIM_SLP_Pin */
  GPIO_InitStruct.Pin = D_VBAT_EN_Pin|SPI2_NSS_Pin|SIM_SLP_Pin;
  GPIO_InitStruct.Mode = GPIO_MODE_OUTPUT_PP;
  GPIO_InitStruct.Pull = GPIO_NOPULL;
  GPIO_InitStruct.Speed = GPIO_SPEED_FREQ_LOW;
  HAL_GPIO_Init(GPIOB, &GPIO_InitStruct);

  /*Configure GPIO pins : DIO5_Pin DIO0_Pin SIM_ISR_Pin */
  GPIO_InitStruct.Pin = DIO5_Pin|DIO0_Pin|SIM_ISR_Pin;
  GPIO_InitStruct.Mode = GPIO_MODE_IT_RISING;
  GPIO_InitStruct.Pull = GPIO_NOPULL;
  HAL_GPIO_Init(GPIOB, &GPIO_InitStruct);

  /*Configure GPIO pin : UNUSED3_Pin */
  GPIO_InitStruct.Pin = UNUSED3_Pin;
  GPIO_InitStruct.Mode = GPIO_MODE_ANALOG;
  HAL_GPIO_Init(UNUSED3_GPIO_Port, &GPIO_InitStruct);

  /*Configure GPIO pin : RESET_Pin */
  GPIO_InitStruct.Pin = RESET_Pin;
  GPIO_InitStruct.Mode = GPIO_MODE_OUTPUT_PP;
  GPIO_InitStruct.Pull = GPIO_PULLUP;
  GPIO_InitStruct.Speed = GPIO_SPEED_FREQ_LOW;
  HAL_GPIO_Init(RESET_GPIO_Port, &GPIO_InitStruct);

  /*Configure GPIO pin : DIO2_Pin */
  GPIO_InitStruct.Pin = DIO2_Pin;
  GPIO_InitStruct.Mode = GPIO_MODE_INPUT;
  GPIO_InitStruct.Pull = GPIO_NOPULL;
  HAL_GPIO_Init(DIO2_GPIO_Port, &GPIO_InitStruct);

  /*Configure GPIO pins : SIM_RST_Pin DIO1_Pin */
  GPIO_InitStruct.Pin = SIM_RST_Pin|DIO1_Pin;
  GPIO_InitStruct.Mode = GPIO_MODE_IT_RISING;
  GPIO_InitStruct.Pull = GPIO_NOPULL;
  HAL_GPIO_Init(GPIOA, &GPIO_InitStruct);

  /*Configure GPIO pins : DIO4_Pin DIO3_Pin */
  GPIO_InitStruct.Pin = DIO4_Pin|DIO3_Pin;
  GPIO_InitStruct.Mode = GPIO_MODE_INPUT;
  GPIO_InitStruct.Pull = GPIO_NOPULL;
  HAL_GPIO_Init(GPIOB, &GPIO_InitStruct);

  /* EXTI interrupt init*/
  HAL_NVIC_SetPriority(EXTI1_IRQn, 1, 0);
  //HAL_NVIC_EnableIRQ(EXTI1_IRQn);

  HAL_NVIC_SetPriority(EXTI3_IRQn, 1, 0);
  //HAL_NVIC_EnableIRQ(EXTI3_IRQn);

  /* USER CODE BEGIN MX_GPIO_Init_2 */

  // ^^^^^^^^ COMMENT ALL IRQ ENABLE WRITEN BY IDE ^^^^^^^^
  // Manual setup IRQs - interrupt signal already at startup
  HAL_NVIC_SetPriority(EXTI1_IRQn, 1, 0);
  HAL_NVIC_SetPriority(EXTI3_IRQn, 1, 1); // 1,0
  HAL_NVIC_DisableIRQ(EXTI3_IRQn);
  HAL_NVIC_DisableIRQ(EXTI1_IRQn);

  /* USER CODE END MX_GPIO_Init_2 */
}

/* USER CODE BEGIN 4 */

// Wake up interrupt - STOP mode //
void HAL_RTC_AlarmAEventCallback(RTC_HandleTypeDef *hrtc)
{
	awake = 1;
	if (state != STATE_INIT) state = STATE_RUN;
}

// Wake up interrupt - STANDBY mode //
void wake_up_from_standby_handler(void)
{
    awake = 1;
	state = STATE_RUN;
}

// TIMER Interrupt //
void HAL_TIM_PeriodElapsedCallback (TIM_HandleTypeDef * htim)
{
	/* TIMER 2 - 10Hz (Read sensors to average their values) */
	if (htim->Instance == TIM2)
	{
		if (measurements.ADC_read == 0)
		{
			HAL_TIM_Base_Stop_IT(&htim2);
			HAL_ADC_Start_IT(&hadc1);
			measurements.ADC_read = 1;
		}
	}

	if (htim->Instance == TIM3)
	{
		tim3_tick_msb += 0x10000; // Increment the MSB by 0x10000 each time TIM2 overflows
		HAL_TIM_Base_Start_IT(&htim3);
	}
}

// ADC interrupt
void HAL_ADC_ConvCpltCallback(ADC_HandleTypeDef* hadc)
{
    if (hadc->Instance == ADC1)
    {
    	measurements.ADC_values[0] = HAL_ADC_GetValue(hadc);
    	measurements.ADC_values[1] = HAL_ADC_GetValue(hadc);
    	HAL_ADC_Stop_IT(&hadc1);
    	measurements.ADC_read_end = 1;
    }
}

// Read battery voltage //
float ADC_Read_Battery(uint32_t* ADC_value)
{
	float Vout = ((float)(*ADC_value * LDO_OUT_U)) / 4095;
	float voltage = ((BAT_R1 + BAT_R2) * (Vout / BAT_R2));
	return (float) voltage;
}

// EFM95W module //
void RFM95W_Struct_Init(rfm95_handle_t* rfm95_handle)
{
		rfm95_handle->spi_handle = &hspi2;
		rfm95_handle->nss_port = SPI2_NSS_GPIO_Port;
		rfm95_handle->nss_pin = SPI2_NSS_Pin;
		rfm95_handle->nrst_port = RESET_GPIO_Port;
		rfm95_handle->nrst_pin = RESET_Pin;

		rfm95_handle->precision_tick_frequency = 32768;
		rfm95_handle->precision_tick_drift_ns_per_s = 5000;
		rfm95_handle->receive_mode = RFM95_RECEIVE_MODE_NONE;
		rfm95_handle->get_precision_tick = get_precision_tick;
		//rfm95_handle->precision_sleep_until = precision_sleep_until;
		rfm95_handle->random_int = random_int;

		uint8_t address[] = DEVICE_ADDRESS;
		memcpy(rfm95_handle->device_address, address, sizeof(address));

		uint8_t sKey[] = APPSKEY;
		memcpy(rfm95_handle->application_session_key, sKey, sizeof(sKey));

		uint8_t nKey[] = NWKSKEY;
		memcpy(rfm95_handle->network_session_key, nKey, sizeof(nKey));
}

void HAL_GPIO_EXTI_Callback(uint16_t GPIO_Pin)
{
	//__disable_irq();
    if (GPIO_Pin == DIO0_Pin) {
        rfm95_on_interrupt(&rfm95_handle, RFM95_INTERRUPT_DIO0);
    } else if (GPIO_Pin == DIO1_Pin) {
        rfm95_on_interrupt(&rfm95_handle, RFM95_INTERRUPT_DIO1);
    } else if (GPIO_Pin == DIO5_Pin) {
        rfm95_on_interrupt(&rfm95_handle, RFM95_INTERRUPT_DIO5);
    } else {
		__HAL_GPIO_EXTI_CLEAR_IT(GPIO_Pin); // Clear any unexpected interrupt
    }
    __HAL_GPIO_EXTI_CLEAR_IT(GPIO_Pin); // Clear the flag
    //__enable_irq();
}

static uint8_t random_int(uint8_t max)
{
    return (uint8_t)(measurements.ADC_values[0] & 0x000f); // Use ADC other means of obtaining a random number.
}

static uint32_t get_precision_tick()
{
    __disable_irq(); // Disable interrupts to ensure atomic access to tick variables
    uint32_t precision_tick = tim3_tick_msb | __HAL_TIM_GET_COUNTER(&htim3);
    __enable_irq(); // Re-enable interrupts
    return precision_tick;
}

// Read humidity in ground //
uint8_t ADC_Read_EHum(uint32_t* ADC_value, float* delta)
{
	uint8_t humidity = (uint8_t)round(*ADC_value - EARTH_HUM_WET_VAL) * (*delta);
	return humidity;
}

/* USER CODE END 4 */

void Error_Handler(void)
{
  __disable_irq();
  while (1)
  {
  }
}
